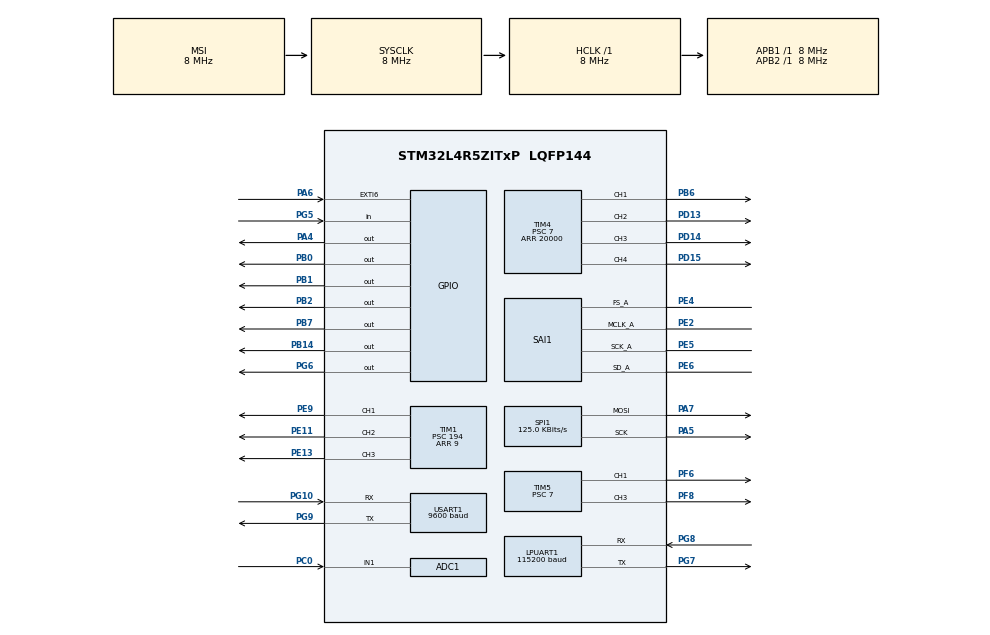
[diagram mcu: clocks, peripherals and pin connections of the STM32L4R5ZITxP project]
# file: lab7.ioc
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ADC1.Channel-0\#ChannelRegularConversion=ADC_CHANNEL_1
ADC1.ClockPrescaler=ADC_CLOCK_ASYNC_DIV2
ADC1.ExternalTrigConv=ADC_EXTERNALTRIG_T1_TRGO
ADC1.ExternalTrigConvEdge=ADC_EXTERNALTRIGCONVEDGE_RISING
ADC1.NbrOfConversionFlag=1
ADC1.OffsetNumber-0\#ChannelRegularConversion=ADC_OFFSET_NONE
ADC1.Rank-0\#ChannelRegularConversion=1
ADC1.SamplingTime-0\#ChannelRegularConversion=ADC_SAMPLETIME_640CYCLES_5
ADC1.master=1
Dma.ADC1.0.Direction=DMA_PERIPH_TO_MEMORY
Dma.ADC1.0.EventEnable=DISABLE
Dma.ADC1.0.Instance=DMA1_Channel1
Dma.ADC1.0.MemDataAlignment=DMA_MDATAALIGN_HALFWORD
Dma.ADC1.0.MemInc=DMA_MINC_ENABLE
Dma.ADC1.0.Mode=DMA_CIRCULAR
Dma.ADC1.0.PeriphDataAlignment=DMA_PDATAALIGN_HALFWORD
Dma.ADC1.0.PeriphInc=DMA_PINC_DISABLE
Dma.ADC1.0.Polarity=HAL_DMAMUX_REQUEST_GEN_RISING
Dma.ADC1.0.Priority=DMA_PRIORITY_VERY_HIGH
Dma.ADC1.0.RequestNumber=1
Dma.ADC1.0.SignalID=NONE
Dma.ADC1.0.SyncEnable=DISABLE
Dma.ADC1.0.SyncPolarity=HAL_DMAMUX_SYNC_NO_EVENT
Dma.ADC1.0.SyncRequestNumber=1
Dma.ADC1.0.SyncSignalID=NONE
Dma.Request0=ADC1
LPUART1.BaudRate=115200
LPUART1.WordLength=UART_WORDLENGTH_8B
Mcu.Family=STM32L4
Mcu.Name=STM32L4R5ZITxP
Mcu.Package=LQFP144
NVIC.DMA1_Channel1_IRQn=true\:0\:0\:false\:false\:true\:false\:true\:true
NVIC.EXTI9_5_IRQn=true\:0\:0\:false\:false\:true\:true\:true\:true
NVIC.PriorityGroup=NVIC_PRIORITYGROUP_4
PA0.Signal=S_TIM2_CH1
PA1.Signal=ADCx_IN6
PA10.Signal=USB_OTG_FS_ID
PA13\ (JTMS/SWDIO).Mode=Trace_Asynchronous_SW
PA13\ (JTMS/SWDIO).Signal=SYS_JTMS-SWDIO
PA14\ (JTCK/SWCLK).Mode=Trace_Asynchronous_SW
PA14\ (JTCK/SWCLK).Signal=SYS_JTCK-SWCLK
PA3.Signal=ADCx_IN8
PA4.Signal=GPIO_Output
PA5.Mode=TX_Only_Simplex_Unidirect_Master
PA5.Signal=SPI1_SCK
PA6.GPIO_ModeDefaultEXTI=GPIO_MODE_IT_FALLING
PA6.Signal=GPXTI6
PA7.Mode=TX_Only_Simplex_Unidirect_Master
PA7.Signal=SPI1_MOSI
PA8.Signal=USB_OTG_FS_SOF
PA9.Signal=USB_OTG_FS_VBUS
PB0.Signal=GPIO_Output
PB1.Signal=GPIO_Output
PB10.Signal=S_TIM2_CH3
PB12.Signal=SAI2_FS_A
PB13.Signal=SAI2_SCK_A
PB14.Signal=GPIO_Output
PB15.Signal=SAI2_SD_A
PB2.Signal=GPIO_Output
PB3\ (JTDO/TRACESWO).Mode=Trace_Asynchronous_SW
PB3\ (JTDO/TRACESWO).Signal=SYS_JTDO-SWO
PB4\ (NJTRST).Signal=SPI3_MISO
PB5.Signal=SPI3_MOSI
PB6.Signal=S_TIM4_CH1
PB7.Signal=GPIO_Output
PB8.Signal=I2C1_SCL
PB9.Signal=I2C1_SDA
PC0.Signal=ADCx_IN1
PC1.Signal=ADCx_IN2
PC10.Signal=SDMMC1_D2
PC11.Signal=SDMMC1_D3
PC12.Signal=SDMMC1_CK
PC13.Signal=SYS_WKUP2
PC14-OSC32_IN\ (PC14).Mode=LSE-External-Oscillator
PC14-OSC32_IN\ (PC14).Signal=RCC_OSC32_IN
PC15-OSC32_OUT\ (PC15).Mode=LSE-External-Oscillator
PC15-OSC32_OUT\ (PC15).Signal=RCC_OSC32_OUT
PC2.Signal=ADCx_IN3
PC3.Signal=ADCx_IN4
PC4.Signal=ADCx_IN13
PC5.Signal=ADCx_IN14
PC6.Signal=SAI2_MCLK_A
PC7.Signal=S_TIM3_CH2
PC8.Signal=SDMMC1_D0
PC9.Signal=SDMMC1_D1
PD0.Signal=CAN1_RX
PD13.Signal=S_TIM4_CH2
PD14.Signal=S_TIM4_CH3
PD15.Signal=S_TIM4_CH4
PD2.Signal=SDMMC1_CMD
PD3.Signal=USART2_CTS
PD4.Signal=USART2_RTS
PD5.Signal=USART2_TX
PD6.Signal=USART2_RX
PD8.Signal=USART3_TX
PD9.Signal=USART3_RX
PE0.Signal=S_TIM4_ETR
PE10.Signal=TIM1_CH2N
PE11.Signal=S_TIM1_CH2
PE12.Signal=TIM1_CH3N
PE13.Signal=S_TIM1_CH3
PE14.Signal=TIM1_BKIN2
PE15.Signal=TIM1_BKIN
PE2.Mode=SAI_A_MasterWithClock
PE2.Signal=SAI1_MCLK_A
PE3.Signal=SAI1_SD_B
PE4.Mode=SAI_A_MasterWithClock
PE4.Signal=SAI1_FS_A
PE5.Mode=SAI_A_MasterWithClock
PE5.Signal=SAI1_SCK_A
PE6.Mode=SAI_A_MasterWithClock
PE6.Signal=SAI1_SD_A
PE7.Signal=S_TIM1_ETR
PE8.Signal=TIM1_CH1N
PE9.Signal=S_TIM1_CH1
PF0.Signal=I2C2_SDA
PF1.Signal=I2C2_SCL
PF2.Signal=I2C2_SMBA
PF6.Signal=S_TIM5_CH1
PF7.Signal=SAI1_MCLK_B
PF8.Signal=S_TIM5_CH3
PG10.Mode=Asynchronous
PG10.Signal=USART1_RX
PG5.Signal=GPIO_Input
PG6.Signal=GPIO_Output
PG7.Mode=Asynchronous
PG7.Signal=LPUART1_TX
PG8.Mode=Asynchronous
PG8.Signal=LPUART1_RX
PG9.Mode=Asynchronous
PG9.Signal=USART1_TX
PH0-OSC_IN\ (PH0).Mode=HSE-External-Clock-Source
PH0-OSC_IN\ (PH0).Signal=RCC_OSC_IN
PH1-OSC_OUT\ (PH1).Signal=RCC_OSC_OUT
ProjectManager.HeapSize=0x200
ProjectManager.StackSize=0x400
ProjectManager.TargetToolchain=STM32CubeIDE
RCC.ADCFreq_Value=32000000
RCC.AHBFreq_Value=8000000
RCC.APB1Freq_Value=8000000
RCC.APB1TimFreq_Value=8000000
RCC.APB2Freq_Value=8000000
RCC.APB2TimFreq_Value=8000000
RCC.CortexFreq_Value=8000000
RCC.HCLKFreq_Value=8000000
RCC.HSE_VALUE=8000000
RCC.HSI48_VALUE=48000000
RCC.HSI_VALUE=16000000
RCC.MSIClockRange=RCC_MSIRANGE_7
RCC.MSI_VALUE=8000000
RCC.SYSCLKFreq_VALUE=8000000
RCC.USBFreq_Value=32000000
RCC.VCOOutputFreq_Value=64000000
SAI1.AudioFrequency-SAI_A_MasterWithClock=SAI_AUDIO_FREQUENCY_192K
SAI1.ErrorAudioFreq-SAI_A_MasterWithClock=-34.89 %
SAI1.InitProtocol-SAI_A_MasterWithClock=Enable
SAI1.Instance-SAI_A_MasterWithClock=SAI$Index_Block_A
SAI1.MClockEnable-SAI_A_MasterWithClock=SAI_MASTERCLOCK_ENABLE
SAI1.RealAudioFreq-SAI_A_MasterWithClock=125.0 KHz
SAI1.VirtualMode-SAI_A_MasterWithClock=VM_MASTER
SAI1.VirtualProtocol-SAI_A_BASIC=VM_BASIC_PROTOCOL
SH.ADCx_IN1.0=ADC1_IN1,IN1-Single-Ended
SH.ADCx_IN13.0=ADC1_IN13
SH.ADCx_IN14.0=ADC1_IN14
SH.ADCx_IN2.0=ADC1_IN2
SH.ADCx_IN3.0=ADC1_IN3
SH.ADCx_IN4.0=ADC1_IN4
SH.ADCx_IN6.0=ADC1_IN6
SH.ADCx_IN8.0=ADC1_IN8
SH.S_TIM1_CH1.0=TIM1_CH1,PWM Generation1 CH1
SH.S_TIM1_CH2.0=TIM1_CH2,PWM Generation2 CH2
SH.S_TIM1_CH3.0=TIM1_CH3,PWM Generation3 CH3
SH.S_TIM1_ETR.0=TIM1_ETR
SH.S_TIM2_CH1.0=TIM2_CH1
SH.S_TIM2_CH3.0=TIM2_CH3
SH.S_TIM3_CH2.0=TIM3_CH2
SH.S_TIM4_CH1.0=TIM4_CH1,PWM Generation1 CH1
SH.S_TIM4_CH2.0=TIM4_CH2,PWM Generation2 CH2
SH.S_TIM4_CH3.0=TIM4_CH3,PWM Generation3 CH3
SH.S_TIM4_CH4.0=TIM4_CH4,PWM Generation4 CH4
SH.S_TIM4_ETR.0=TIM4_ETR
SH.S_TIM5_CH1.0=TIM5_CH1,PWM Generation1 CH1
SH.S_TIM5_CH3.0=TIM5_CH3,PWM Generation3 CH3
SPI1.BaudRatePrescaler=SPI_BAUDRATEPRESCALER_64
SPI1.CalculateBaudRate=125.0 KBits/s
SPI1.DataSize=SPI_DATASIZE_8BIT
SPI1.Direction=SPI_DIRECTION_2LINES
SPI1.Mode=SPI_MODE_MASTER
SPI1.VirtualType=VM_MASTER
TIM1.Channel-PWM\ Generation1\ CH1=TIM_CHANNEL_1
TIM1.Channel-PWM\ Generation2\ CH2=TIM_CHANNEL_2
TIM1.Channel-PWM\ Generation3\ CH3=TIM_CHANNEL_3
TIM1.Period=9
TIM1.Prescaler=194
TIM1.TIM_MasterOutputTrigger=TIM_TRGO_UPDATE
TIM4.Channel-PWM\ Generation1\ CH1=TIM_CHANNEL_1
TIM4.Channel-PWM\ Generation2\ CH2=TIM_CHANNEL_2
TIM4.Channel-PWM\ Generation3\ CH3=TIM_CHANNEL_3
TIM4.Channel-PWM\ Generation4\ CH4=TIM_CHANNEL_4
TIM4.Period=20000
TIM4.Prescaler=7
TIM4.Pulse-PWM\ Generation1\ CH1=1500
TIM4.Pulse-PWM\ Generation2\ CH2=1500
TIM4.Pulse-PWM\ Generation3\ CH3=1500
TIM4.Pulse-PWM\ Generation4\ CH4=1500
TIM5.Channel-Output\ Compare4\ CH4=TIM_CHANNEL_4
TIM5.Channel-PWM\ Generation1\ CH1=TIM_CHANNEL_1
TIM5.Channel-PWM\ Generation3\ CH3=TIM_CHANNEL_3
TIM5.Period=20000
TIM5.Prescaler=7
TIM5.Pulse-PWM\ Generation3\ CH3=1500
USART1.BaudRate=9600
USART1.Mode=MODE_TX
USART1.VirtualMode-Asynchronous=VM_ASYNC
VP_SAI1_VP_$IpInstance_SAIA_SAI_BASIC.Mode=SAI_A_BASIC
VP_TIM1_VS_ClockSourceINT.Mode=Internal
board=NUCLEO-L4R5ZI-P

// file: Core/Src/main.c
/* USER CODE BEGIN Header */
/**
  ******************************************************************************
  * @file           : main.c
  * @brief          : Main program body
  ******************************************************************************
  * @attention
  *
  * Copyright (c) 2024 STMicroelectronics.
  * All rights reserved.
  *
  * This software is licensed under terms that can be found in the LICENSE file
  * in the root directory of this software component.
  * If no LICENSE file comes with this software, it is provided AS-IS.
  *
  ******************************************************************************
  */
/* USER CODE END Header */
#include "main.h"

/* USER CODE BEGIN Includes */

#define ARM_MATH_CM4
#include "arm_math.h"
#include "math.h"
#include <math.h>
#include <stdint.h>
#include <stdio.h>
#include <string.h>
#include <stdarg.h>
#include "ili9341.h"
#include "fonts.h"
#include "testimg.h"
#include "ili9341_touch.h"

#define BUFFER_LENGTH 4096
#define SAMPLING_RATE 2051.282
#define MAX_DELAY 750

#define PROCESSOR_CLOCK 8000000
#define PRESCALER 8

/* USER CODE END Includes */

ADC_HandleTypeDef hadc1;
DMA_HandleTypeDef hdma_adc1;

UART_HandleTypeDef hlpuart1;
UART_HandleTypeDef huart1;

SAI_HandleTypeDef hsai_BlockA1;

SPI_HandleTypeDef hspi1;

TIM_HandleTypeDef htim1;
TIM_HandleTypeDef htim4;
TIM_HandleTypeDef htim5;

/* USER CODE BEGIN PV */

arm_rfft_fast_instance_f32 fftHandler;
volatile convFlag;
volatile startFlag = 0;
uint8_t loop = 10;
char charFreq[20];
char desiredFreq[20];
/* USER CODE END PV */

void SystemClock_Config(void);
void PeriphCommonClock_Config(void);
static void MX_GPIO_Init(void);
static void MX_DMA_Init(void);
static void MX_ADC1_Init(void);
static void MX_LPUART1_UART_Init(void);
static void MX_SAI1_Init(void);
static void MX_TIM1_Init(void);
static void MX_TIM4_Init(void);
static void MX_SPI1_Init(void);
static void MX_TIM5_Init(void);
static void MX_USART1_UART_Init(void);

/* USER CODE BEGIN 0 */

void HAL_ADC_ConvCpltCallback(ADC_HandleTypeDef* hadc) {

	convFlag = 1;

}

void apply_hanning_window(float32_t * signal, uint32_t length){
	for (int i = 0; i < length; ++i){
		float32_t han_value = 0.5f * (1.0f - cosf(2 * PI * i / (length - 1)));
		signal[i] *= han_value;
	}
}

void find_peaks(float32_t* data, uint32_t length, int32_t* peaks, uint32_t* num_peaks) {
    float32_t threshold = 0; // Adjust if needed
    *num_peaks = 0;

    for (uint32_t i = 1; i < length - 1; ++i) {
        if (data[i] > threshold && data[i] > data[i-1] && data[i] > data[i+1]) {
            peaks[*num_peaks] = i;
            (*num_peaks)++;
        }
    }
}

void autocorrelate(float32_t* x, uint32_t N, float32_t* autocorrelation) {

    arm_rfft_fast_instance_f32 fftInstance;

    // Initialize the FFT instance
    arm_rfft_fast_init_f32(&fftInstance, N);

    float32_t output[N];
    arm_rfft_fast_f32(&fftInstance, x, output, 0);

    float32_t power_spectrum[N/2];
    //arm_cmplx_mag_squared_f32(output, power_spectrum, N/2);
    power_spectrum[0] = output[0] * output[0];
    power_spectrum[1] = output[1] * output[1];

    // Rest of the frequency bins (upto N/2)
    for (uint32_t i = 1; i < N / 2; ++i) {
        power_spectrum[2 * i] = output[2 * i] * output[2 * i] + output[2 * i + 1] * output[2 * i + 1]; // Real part
        power_spectrum[2 * i + 1] = 0; // Imaginary part is 0
    }

    //arm_abs_f32(autocorrelation, autocorrelation, BUFFER_LENGTH);

    arm_rfft_fast_f32(&fftInstance, power_spectrum, autocorrelation, 1);

    arm_abs_f32(autocorrelation, autocorrelation, BUFFER_LENGTH);
}
void set_motor_speed_1(int motor_speed) {
  // Can change motorspeed from 0 - 100
  // 0 = Full Clockwise Rotation
  // 50 = No Rotation
  // 100 = Full Counterclockwise Rotation

  // converting motor speed to pulse width (in ms)
  double pulse_width = (1.28) + (0.44 * ((double)motor_speed/100));

  int temp_ccr1 = (pulse_width / 1000) * (PROCESSOR_CLOCK / PRESCALER);

  TIM4->CCR1 = temp_ccr1;
}

void set_motor_speed_2(int motor_speed) {
  // Can change motorspeed from 0 - 100
  // 0 = Full Clockwise Rotation
  // 50 = No Rotation
  // 100 = Full Counterclockwise Rotation

  // converting motor speed to pulse width (in ms)
  double pulse_width = (1.28) + (0.44 * ((double)motor_speed/100));

  int temp_ccr2 = (pulse_width / 1000) * (PROCESSOR_CLOCK / PRESCALER);

  TIM4->CCR2 = temp_ccr2;
}

void set_motor_speed_3(int motor_speed) {
  // Can change motorspeed from 0 - 100
  // 0 = Full Clockwise Rotation
  // 50 = No Rotation
  // 100 = Full Counterclockwise Rotation

  // converting motor speed to pulse width (in ms)
  double pulse_width = (1.28) + (0.44 * ((double)motor_speed/100));

  int temp_ccr3 = (pulse_width / 1000) * (PROCESSOR_CLOCK / PRESCALER);

  TIM4->CCR3 = temp_ccr3;
}

void set_motor_speed_4(int motor_speed) {
  // Can change motorspeed from 0 - 100
  // 0 = Full Clockwise Rotation
  // 50 = No Rotation
  // 100 = Full Counterclockwise Rotation

  // converting motor speed to pulse width (in ms)
  double pulse_width = (1.28) + (0.44 * ((double)motor_speed/100));

  int temp_ccr4 = (pulse_width / 1000) * (PROCESSOR_CLOCK / PRESCALER);

  TIM4->CCR4 = temp_ccr4;
}

void set_motor_speed_5(int motor_speed) {
  // Can change motorspeed from 0 - 100
  // 0 = Full Clockwise Rotation
  // 50 = No Rotation
  // 100 = Full Counterclockwise Rotation

  // converting motor speed to pulse width (in ms)
  double pulse_width = (1.28) + (0.44 * ((double)motor_speed/100));

  int temp_ccr1 = (pulse_width / 1000) * (PROCESSOR_CLOCK / PRESCALER);

  TIM5->CCR1 = temp_ccr1;
}
void set_motor_speed_6(int motor_speed) {
  // Can change motorspeed from 0 - 100
  // 0 = Full Clockwise Rotation
  // 50 = No Rotation
  // 100 = Full Counterclockwise Rotation

  // converting motor speed to pulse width (in ms)
  double pulse_width = (1.28) + (0.44 * ((double)motor_speed/100));

  int temp_ccr3 = (pulse_width / 1000) * (PROCESSOR_CLOCK / PRESCALER);

  TIM5->CCR3 = temp_ccr3;
}

void screenInit () {
	ILI9341_Unselect();
	ILI9341_TouchUnselect();
	ILI9341_Init();
}

void reverse(char* str, int len)
{
    int i = 0, j = len - 1, temp;
    while (i < j) {
        temp = str[i];
        str[i] = str[j];
        str[j] = temp;
        i++;
        j--;
    }
}

int intToStr(int x, char str[], int d)
{
    int i = 0;
    while (x) {
        str[i++] = (x % 10) + '0';
        x = x / 10;
    }

    // If number of digits required is more, then
    // add 0s at the beginning
    while (i < d)
        str[i++] = '0';

    reverse(str, i);
    str[i] = '\0';
    return i;
}

void ftoa(float n, char* res, int afterpoint)
{
    // Extract integer part
    int ipart = (int)n;

    // Extract floating part
    float fpart = n - (float)ipart;

    // convert integer part to string
    int i = intToStr(ipart, res, 0);

    // check for display option after point
    if (afterpoint != 0) {
        res[i] = '.'; // add dot

        // Get the value of fraction part upto given no.
        // of points after dot. The third parameter
        // is needed to handle cases like 233.007
        fpart = fpart * pow(10, afterpoint);

        intToStr((int)fpart, res + i + 1, afterpoint);
    }
}

void transmit() {
	uint16_t key = 0xFFFF;
	uint32_t actual_guitar_freq = 0xFEED;
	for (int i = 0; i < 3; ++i) {
	  HAL_UART_Transmit(&huart1, &key,                 2, HAL_MAX_DELAY);
	  HAL_UART_Transmit(&huart1, &startFlag,               1, HAL_MAX_DELAY);
	  HAL_UART_Transmit(&huart1, &actual_guitar_freq,  4, HAL_MAX_DELAY);
    }
}

void HAL_GPIO_EXTI_Callback(uint16_t GPIO_Pin) {

	if (GPIO_Pin == 64) {
		if (startFlag) {
			startFlag = 0;
		} else {
			startFlag = 1;
			loop = 0;
		}
	}

}
/* USER CODE END 0 */

int main(void)
{
  /* USER CODE BEGIN 1 */
	convFlag = 0;
	//E (low), A, D, G, B, E (high)
	float32_t string_freqs[6] = {82.41, 110.0, 146.83, 196.0, 246.94, 329.63};
	float32_t measured_freq;
	char *strings[] = {"E (low)", "A       ", "D       ", "G       ", "B       ", "E (high)" };
	//char * E_high = "E (high)";
	char *detected_string;
	float32_t string_offset;

	union Float_as_buffer {
		  float f;
		  uint8_t buf[4];
	 };

	union Float_as_buffer actual_guitar_freq;

	uint16_t key = 0xFFFF;

	uint8_t start = 0b1;

  /* USER CODE END 1 */

  /* MCU Configuration--------------------------------------------------------*/

  /* Reset of all peripherals, Initializes the Flash interface and the Systick. */
  HAL_Init();

  /* Configure the system clock */
  SystemClock_Config();

/* Configure the peripherals common clocks */
  PeriphCommonClock_Config();

  /* Initialize all configured peripherals */
  MX_GPIO_Init();
  MX_DMA_Init();
  MX_ADC1_Init();
  MX_LPUART1_UART_Init();
  MX_SAI1_Init();
  MX_TIM1_Init();
  MX_TIM4_Init();
  MX_SPI1_Init();
  MX_TIM5_Init();
  MX_USART1_UART_Init();
  /* USER CODE BEGIN 2 */
 // screenInit();
  //ILI9341_FillScreen(ILI9341_BLACK);

  //arm_rfft_fast_init_f32(&fftHandler, BUFFER_LENGTH);

  float32_t signal[BUFFER_LENGTH];
  float32_t autocorrelation[BUFFER_LENGTH];

  uint32_t LOWEST_PERIOD = SAMPLING_RATE / 440; //440hz max
  uint32_t HIGHEST_PERIOD = SAMPLING_RATE / 50; //60 Hz min (change to 50)

   volatile uint16_t ADC_BUFFER[BUFFER_LENGTH];

//  float32_t freq_resolution = (float32_t)SAMPLING_RATE / (float32_t)BUFFER_LENGTH;

  HAL_TIM_Base_Start_IT(&htim1);
  HAL_TIM_PWM_Start(&htim4, TIM_CHANNEL_1);
  HAL_TIM_PWM_Start(&htim4, TIM_CHANNEL_2);
  HAL_TIM_PWM_Start(&htim4, TIM_CHANNEL_3);
  HAL_TIM_PWM_Start(&htim4, TIM_CHANNEL_4);

  HAL_TIM_PWM_Start(&htim5, TIM_CHANNEL_1);
  HAL_TIM_PWM_Start(&htim5, TIM_CHANNEL_3);

//  screenInit();
//  ILI9341_FillScreen(ILI9341_BLACK);
//  ILI9341_WriteString(35, 30, "PUSH BUTTON", Font_16x26, ILI9341_WHITE, ILI9341_BLACK);
//  ILI9341_WriteString(45, 60, "TO START", Font_16x26, ILI9341_WHITE, ILI9341_BLACK);
  /* USER CODE END 2 */

  /* Infinite loop */
  /* USER CODE BEGIN WHILE */
  uint8_t previous = 0;
  uint8_t hold = 0;
  while (1)
  {
	while (!startFlag) {
		actual_guitar_freq.f = 0.0;
		for (int i = 0; i < 3; ++i) {
			  HAL_UART_Transmit(&huart1, &key,                 2, HAL_MAX_DELAY);
			  HAL_UART_Transmit(&huart1, &startFlag,               1, HAL_MAX_DELAY);
			  HAL_UART_Transmit(&huart1, &actual_guitar_freq.buf,  4, HAL_MAX_DELAY);
		  }
		previous = 0;
	}

	while (startFlag) {

		uint16_t key = 0xFFFF;
		uint32_t holder = 0x0000;
		if(loop < 10) {
		for (int i = 0; i < 3; ++i) {
		  HAL_UART_Transmit(&huart1, &key,                 2, HAL_MAX_DELAY);
		  HAL_UART_Transmit(&huart1, &startFlag,               1, HAL_MAX_DELAY);
		  HAL_UART_Transmit(&huart1, &holder,  4, HAL_MAX_DELAY);
		}
		}
		loop += 1;

	 HAL_ADC_Start_DMA(&hadc1, ADC_BUFFER, BUFFER_LENGTH);

	  //Test signal with harmonics
//	  for (int i = 0; i < BUFFER_LENGTH; ++i){
//		  float32_t r = (float32_t)i / (float32_t)SAMPLING_RATE;
//		  r *= 3.14158265359 * 2;
//		  r *= 81.5; //Hz
//
//		  float32_t s = sin(r) + sin(r*4) * 0.5 + 0.25*sin(r*3) + sin(r*4) + sin(r*5) + sin(r*5);
//		  signal[i] = s;
//	  }

	 //Calculate average of ADC values over a range, do this for both noise (to get a threshold) and for when the individual strings
	 //are strummed

	  while(convFlag == 0) {;}

	  float32_t output[BUFFER_LENGTH];
	  for(int i = 0; i < BUFFER_LENGTH; i++) {
		  signal[i] = (double)(ADC_BUFFER[i]);

	  }

	apply_hanning_window(&signal, BUFFER_LENGTH);

//	  if (average < 2048){ //DETERMINE APPROPRIATE THRESHOLD HERE
//		  continue; //resample
//	  }

    arm_rfft_fast_instance_f32 fftInstance;

    // Initialize the FFT instance
    arm_rfft_fast_init_f32(&fftInstance, BUFFER_LENGTH);

    arm_rfft_fast_f32(&fftInstance, signal, output, 0);

    output[0] = 0;
    output[1] = 0;

	  if(!startFlag){
	  	    	 continue;
	  	     }

    // Rest of the frequency bins (upto N/2)
    float32_t HPS[BUFFER_LENGTH / 2];
    for (uint32_t i = 0; i < BUFFER_LENGTH / 2; ++i) {
        HPS[i] = sqrtf(output[2 * i] * output[2 * i] + output[2 * i + 1] * output[2 * i + 1]); // Real part
    }
//
    for(int i = 0; i < BUFFER_LENGTH / 4; i++) {

      HPS[i] = HPS[i] * HPS[2*i];

      if(i < floorf(BUFFER_LENGTH / 6)) {
        HPS[i] = HPS[i] * HPS[3*i];
      }

      if(i < floorf(BUFFER_LENGTH / 8)) {
        HPS[i] = HPS[i] * HPS[4*i];
      }

      if(i < floorf(BUFFER_LENGTH / 10)) {
    	  HPS[i] = HPS[i] * HPS[5*i];
      }

    }

    //Filter lower and higher frequencies, 30Hz and 450 Hz
    for(int i = 0; i < 50; ++i){
    	HPS[i] = 0;
    }
    for(int i = 370; i < BUFFER_LENGTH / 2; ++i){ //370 since likely will never be higher and issues with 3rd string harmonics
    	HPS[i] = 0;
    }

    float32_t average;
	arm_mean_f32(HPS, BUFFER_LENGTH/2, &average);
	if(average < (2E20)){ //Based on sampled data,see spreadsheet
		hold = 1;
		continue;
	}

    int max_peak = 0;
    int max_mag = 0;
    arm_max_f32(HPS, BUFFER_LENGTH / 2, &max_mag, &max_peak);

    float32_t measured_freq = max_peak * (2* SAMPLING_RATE/(BUFFER_LENGTH));

	     //Match frequency to string

	     //find smallest magnitude of distance
	     float32_t min_freqs[6];
	     for(int i = 0; i < 6; ++i){
	    	 min_freqs[i] = string_freqs[i] - measured_freq;
	     }

	     arm_abs_f32(min_freqs, min_freqs, 6);

	     //find the argmin
	     float32_t current_min = min_freqs[0];
	     uint8_t index = 0;
	     for(int i = 0; i < 6; ++i){
	    	 if (min_freqs[i] < current_min){
	    		 current_min = min_freqs[i];
	    		 index = i;
	    	 }
	     }

	     //assign detected string
	     detected_string = strings[index];

	     string_offset = measured_freq - string_freqs[index];

	     actual_guitar_freq.f = measured_freq;

	 // Transmit the string message
	  for (int i = 0; i < 3; ++i) {
		  HAL_UART_Transmit(&huart1, &key,                 2, HAL_MAX_DELAY);
		  HAL_UART_Transmit(&huart1, &startFlag,               1, HAL_MAX_DELAY);
		  HAL_UART_Transmit(&huart1, &actual_guitar_freq.buf,  4, HAL_MAX_DELAY);
	  }

	  ftoa(measured_freq, charFreq, 2);
	  ftoa(string_freqs[index], desiredFreq, 2);

	    if(!startFlag){
	    	 continue;
	     }

		// ILI9341_WriteString(100, 30, detected_string, Font_16x26, ILI9341_WHITE, ILI9341_BLACK);
		// ILI9341_WriteString(100, 90, charFreq, Font_16x26, ILI9341_WHITE, ILI9341_BLACK);
		// ILI9341_WriteString(100, 150, desiredFreq, Font_16x26, ILI9341_WHITE, ILI9341_BLACK);

	     //Tune strings (yeah yeah)
	     switch (index){
	     	 case 0: //E low
	     		if(string_offset > 0){
				 uint32_t delay = floor(80 * string_offset);
				 if(delay > MAX_DELAY){
					delay = MAX_DELAY;
				 }
				  set_motor_speed_1(68);
				  HAL_Delay(delay);
				  set_motor_speed_1(50);
				}
				else if(string_offset < 0){
				 uint32_t delay = floor(-1* (75 * string_offset));
				 if(delay > MAX_DELAY){
					delay = MAX_DELAY;
				 }
				 set_motor_speed_1(20);
				 HAL_Delay(delay);
				 set_motor_speed_1(50);
				}
	     		 break;

	     	 case 1: //A
	     		if(string_offset > 0){
				 uint32_t delay = floor(85 * string_offset);
				 if(delay > MAX_DELAY){
					delay = MAX_DELAY;
				 }
				  set_motor_speed_2(74);
				  HAL_Delay(delay);
				  set_motor_speed_2(50);
				}
				else if(string_offset < 0){
				 uint32_t delay = floor(-1* (115 * string_offset));
				 if(delay > MAX_DELAY){
					delay = MAX_DELAY;
				 }
				 set_motor_speed_2(15);
				 HAL_Delay(delay);
				 set_motor_speed_2(50);
				}
	     		 break;

	     	 case 2: //D
	     		if(string_offset > 0){
				 uint32_t delay = floor(130 * string_offset); // (500/3 )
				 if(delay > MAX_DELAY){
					delay = MAX_DELAY;
				 }
				  set_motor_speed_3(70);
				  HAL_Delay(delay);
				  set_motor_speed_3(50);
				}
				else if(string_offset < 0){
				 uint32_t delay = floor(-1* (130 * string_offset)); // (500/3 )
				 if(delay > MAX_DELAY){
					delay = MAX_DELAY;
				 }
				 set_motor_speed_3(18);
				 HAL_Delay(delay);
				 set_motor_speed_3(50);
	     		}
	     		 break;

	     	 case 3: //G
	     		if(string_offset > 0){
				 uint32_t delay = floor(115 * string_offset);
				 if(delay > MAX_DELAY){
				 	delay = MAX_DELAY;
				 }
				  set_motor_speed_4(72);
				  HAL_Delay(delay);
				  set_motor_speed_4(50);
				}
				else if(string_offset < 0 && string_offset < -1){
				 uint32_t delay = floor(-1* (160 * string_offset));
				 if(delay > MAX_DELAY){
				 	delay = MAX_DELAY;
				 }
				 set_motor_speed_4(20);
				 HAL_Delay(delay);
				 set_motor_speed_4(50);
				}
	     		 break;

	     	 case 4: //B
	     		if(string_offset > 0){ // COULD TEST FOR EXPECTED VALUE (BASED ON 1H range) when in tune
	     		 uint32_t delay = floor(80 * string_offset);	//OR could just do > 1 and let user decide when good, display in tune or sum
				 if(delay > MAX_DELAY){								//Since it has 1 Hz accuracy might be nice to have it turn small amounts
				 	delay = MAX_DELAY;
				 }
				  set_motor_speed_5(65);
				  HAL_Delay(delay);
				  set_motor_speed_5(50);
	     		}
	     		else if(string_offset < 0){
				 uint32_t delay = floor(-1* (60 * string_offset));
				 if(delay > MAX_DELAY){
				 	delay = MAX_DELAY;
				 }
				 set_motor_speed_5(20);
				 HAL_Delay(delay);
				 set_motor_speed_5(50);
	     		}
	     		 break;

	     	 case 5: //Low E
	     		if(string_offset > 0){
					 uint32_t delay = floor(135 * string_offset);
					 if(delay > MAX_DELAY){
					 	delay = MAX_DELAY;
					 }
					  set_motor_speed_6(68);
					  HAL_Delay(delay);
					  set_motor_speed_6(50);
				 }
	     		else if(string_offset < 0){
					 uint32_t delay = floor(-1* (95 * string_offset));
					 if(delay > MAX_DELAY){
					 	delay = MAX_DELAY;
					 }
					 set_motor_speed_6(22);
					 HAL_Delay(delay);
					 set_motor_speed_6(50);
				 }
	     		 break;

	     }

	  //To prevent strum from previous affecting next
	  HAL_Delay(250);
	  convFlag = 0;

    /* USER CODE END WHILE */

	 }
  }
}

void SystemClock_Config(void)
{
  RCC_OscInitTypeDef RCC_OscInitStruct = {0};
  RCC_ClkInitTypeDef RCC_ClkInitStruct = {0};

  /** Configure the main internal regulator output voltage
  */
  if (HAL_PWREx_ControlVoltageScaling(PWR_REGULATOR_VOLTAGE_SCALE1) != HAL_OK)
  {
    Error_Handler();
  }

  /** Initializes the RCC Oscillators according to the specified parameters
  * in the RCC_OscInitTypeDef structure.
  */
  RCC_OscInitStruct.OscillatorType = RCC_OSCILLATORTYPE_MSI;
  RCC_OscInitStruct.MSIState = RCC_MSI_ON;
  RCC_OscInitStruct.MSICalibrationValue = 0;
  RCC_OscInitStruct.MSIClockRange = RCC_MSIRANGE_7;
  RCC_OscInitStruct.PLL.PLLState = RCC_PLL_NONE;
  if (HAL_RCC_OscConfig(&RCC_OscInitStruct) != HAL_OK)
  {
    Error_Handler();
  }

  /** Initializes the CPU, AHB and APB buses clocks
  */
  RCC_ClkInitStruct.ClockType = RCC_CLOCKTYPE_HCLK|RCC_CLOCKTYPE_SYSCLK
                              |RCC_CLOCKTYPE_PCLK1|RCC_CLOCKTYPE_PCLK2;
  RCC_ClkInitStruct.SYSCLKSource = RCC_SYSCLKSOURCE_MSI;
  RCC_ClkInitStruct.AHBCLKDivider = RCC_SYSCLK_DIV1;
  RCC_ClkInitStruct.APB1CLKDivider = RCC_HCLK_DIV1;
  RCC_ClkInitStruct.APB2CLKDivider = RCC_HCLK_DIV1;

  if (HAL_RCC_ClockConfig(&RCC_ClkInitStruct, FLASH_LATENCY_0) != HAL_OK)
  {
    Error_Handler();
  }
}

void PeriphCommonClock_Config(void)
{
  RCC_PeriphCLKInitTypeDef PeriphClkInit = {0};

  /** Initializes the peripherals clock
  */
  PeriphClkInit.PeriphClockSelection = RCC_PERIPHCLK_SAI1|RCC_PERIPHCLK_ADC;
  PeriphClkInit.Sai1ClockSelection = RCC_SAI1CLKSOURCE_PLLSAI1;
  PeriphClkInit.AdcClockSelection = RCC_ADCCLKSOURCE_PLLSAI1;
  PeriphClkInit.PLLSAI1.PLLSAI1Source = RCC_PLLSOURCE_MSI;
  PeriphClkInit.PLLSAI1.PLLSAI1M = 1;
  PeriphClkInit.PLLSAI1.PLLSAI1N = 8;
  PeriphClkInit.PLLSAI1.PLLSAI1P = RCC_PLLP_DIV2;
  PeriphClkInit.PLLSAI1.PLLSAI1Q = RCC_PLLQ_DIV2;
  PeriphClkInit.PLLSAI1.PLLSAI1R = RCC_PLLR_DIV2;
  PeriphClkInit.PLLSAI1.PLLSAI1ClockOut = RCC_PLLSAI1_SAI1CLK|RCC_PLLSAI1_ADC1CLK;
  if (HAL_RCCEx_PeriphCLKConfig(&PeriphClkInit) != HAL_OK)
  {
    Error_Handler();
  }
}

static void MX_ADC1_Init(void)
{

  ADC_ChannelConfTypeDef sConfig = {0};

  /** Common config
  */
  hadc1.Instance = ADC1;
  hadc1.Init.ClockPrescaler = ADC_CLOCK_ASYNC_DIV2;
  hadc1.Init.Resolution = ADC_RESOLUTION_12B;
  hadc1.Init.DataAlign = ADC_DATAALIGN_RIGHT;
  hadc1.Init.ScanConvMode = ADC_SCAN_DISABLE;
  hadc1.Init.EOCSelection = ADC_EOC_SINGLE_CONV;
  hadc1.Init.LowPowerAutoWait = DISABLE;
  hadc1.Init.ContinuousConvMode = DISABLE;
  hadc1.Init.NbrOfConversion = 1;
  hadc1.Init.DiscontinuousConvMode = DISABLE;
  hadc1.Init.ExternalTrigConv = ADC_EXTERNALTRIG_T1_TRGO;
  hadc1.Init.ExternalTrigConvEdge = ADC_EXTERNALTRIGCONVEDGE_RISING;
  hadc1.Init.DMAContinuousRequests = DISABLE;
  hadc1.Init.Overrun = ADC_OVR_DATA_PRESERVED;
  hadc1.Init.OversamplingMode = DISABLE;
  if (HAL_ADC_Init(&hadc1) != HAL_OK)
  {
    Error_Handler();
  }

  /** Configure Regular Channel
  */
  sConfig.Channel = ADC_CHANNEL_1;
  sConfig.Rank = ADC_REGULAR_RANK_1;
  sConfig.SamplingTime = ADC_SAMPLETIME_640CYCLES_5;
  sConfig.SingleDiff = ADC_SINGLE_ENDED;
  sConfig.OffsetNumber = ADC_OFFSET_NONE;
  sConfig.Offset = 0;
  if (HAL_ADC_ConfigChannel(&hadc1, &sConfig) != HAL_OK)
  {
    Error_Handler();
  }

}

static void MX_LPUART1_UART_Init(void)
{

  hlpuart1.Instance = LPUART1;
  hlpuart1.Init.BaudRate = 115200;
  hlpuart1.Init.WordLength = UART_WORDLENGTH_8B;
  hlpuart1.Init.StopBits = UART_STOPBITS_1;
  hlpuart1.Init.Parity = UART_PARITY_NONE;
  hlpuart1.Init.Mode = UART_MODE_TX_RX;
  hlpuart1.Init.HwFlowCtl = UART_HWCONTROL_NONE;
  hlpuart1.Init.OneBitSampling = UART_ONE_BIT_SAMPLE_DISABLE;
  hlpuart1.Init.ClockPrescaler = UART_PRESCALER_DIV1;
  hlpuart1.AdvancedInit.AdvFeatureInit = UART_ADVFEATURE_NO_INIT;
  hlpuart1.FifoMode = UART_FIFOMODE_DISABLE;
  if (HAL_UART_Init(&hlpuart1) != HAL_OK)
  {
    Error_Handler();
  }
  if (HAL_UARTEx_SetTxFifoThreshold(&hlpuart1, UART_TXFIFO_THRESHOLD_1_8) != HAL_OK)
  {
    Error_Handler();
  }
  if (HAL_UARTEx_SetRxFifoThreshold(&hlpuart1, UART_RXFIFO_THRESHOLD_1_8) != HAL_OK)
  {
    Error_Handler();
  }
  if (HAL_UARTEx_DisableFifoMode(&hlpuart1) != HAL_OK)
  {
    Error_Handler();
  }

}

static void MX_USART1_UART_Init(void)
{

  huart1.Instance = USART1;
  huart1.Init.BaudRate = 9600;
  huart1.Init.WordLength = UART_WORDLENGTH_8B;
  huart1.Init.StopBits = UART_STOPBITS_1;
  huart1.Init.Parity = UART_PARITY_NONE;
  huart1.Init.Mode = UART_MODE_TX;
  huart1.Init.HwFlowCtl = UART_HWCONTROL_NONE;
  huart1.Init.OverSampling = UART_OVERSAMPLING_16;
  huart1.Init.OneBitSampling = UART_ONE_BIT_SAMPLE_DISABLE;
  huart1.Init.ClockPrescaler = UART_PRESCALER_DIV1;
  huart1.AdvancedInit.AdvFeatureInit = UART_ADVFEATURE_NO_INIT;
  if (HAL_UART_Init(&huart1) != HAL_OK)
  {
    Error_Handler();
  }
  if (HAL_UARTEx_SetTxFifoThreshold(&huart1, UART_TXFIFO_THRESHOLD_1_8) != HAL_OK)
  {
    Error_Handler();
  }
  if (HAL_UARTEx_SetRxFifoThreshold(&huart1, UART_RXFIFO_THRESHOLD_1_8) != HAL_OK)
  {
    Error_Handler();
  }
  if (HAL_UARTEx_DisableFifoMode(&huart1) != HAL_OK)
  {
    Error_Handler();
  }

}

static void MX_SAI1_Init(void)
{

  hsai_BlockA1.Instance = SAI1_Block_A;
  hsai_BlockA1.Init.AudioMode = SAI_MODEMASTER_TX;
  hsai_BlockA1.Init.Synchro = SAI_ASYNCHRONOUS;
  hsai_BlockA1.Init.OutputDrive = SAI_OUTPUTDRIVE_DISABLE;
  hsai_BlockA1.Init.NoDivider = SAI_MASTERDIVIDER_ENABLE;
  hsai_BlockA1.Init.FIFOThreshold = SAI_FIFOTHRESHOLD_EMPTY;
  hsai_BlockA1.Init.AudioFrequency = SAI_AUDIO_FREQUENCY_192K;
  hsai_BlockA1.Init.SynchroExt = SAI_SYNCEXT_DISABLE;
  hsai_BlockA1.Init.MonoStereoMode = SAI_STEREOMODE;
  hsai_BlockA1.Init.CompandingMode = SAI_NOCOMPANDING;
  hsai_BlockA1.Init.TriState = SAI_OUTPUT_NOTRELEASED;
  if (HAL_SAI_InitProtocol(&hsai_BlockA1, SAI_I2S_STANDARD, SAI_PROTOCOL_DATASIZE_16BIT, 2) != HAL_OK)
  {
    Error_Handler();
  }

}

static void MX_SPI1_Init(void)
{

  /* SPI1 parameter configuration*/
  hspi1.Instance = SPI1;
  hspi1.Init.Mode = SPI_MODE_MASTER;
  hspi1.Init.Direction = SPI_DIRECTION_2LINES;
  hspi1.Init.DataSize = SPI_DATASIZE_8BIT;
  hspi1.Init.CLKPolarity = SPI_POLARITY_LOW;
  hspi1.Init.CLKPhase = SPI_PHASE_1EDGE;
  hspi1.Init.NSS = SPI_NSS_SOFT;
  hspi1.Init.BaudRatePrescaler = SPI_BAUDRATEPRESCALER_64;
  hspi1.Init.FirstBit = SPI_FIRSTBIT_MSB;
  hspi1.Init.TIMode = SPI_TIMODE_DISABLE;
  hspi1.Init.CRCCalculation = SPI_CRCCALCULATION_DISABLE;
  hspi1.Init.CRCPolynomial = 7;
  hspi1.Init.CRCLength = SPI_CRC_LENGTH_DATASIZE;
  hspi1.Init.NSSPMode = SPI_NSS_PULSE_ENABLE;
  if (HAL_SPI_Init(&hspi1) != HAL_OK)
  {
    Error_Handler();
  }

}

static void MX_TIM1_Init(void)
{

  TIM_ClockConfigTypeDef sClockSourceConfig = {0};
  TIM_MasterConfigTypeDef sMasterConfig = {0};
  TIM_OC_InitTypeDef sConfigOC = {0};
  TIM_BreakDeadTimeConfigTypeDef sBreakDeadTimeConfig = {0};

  htim1.Instance = TIM1;
  htim1.Init.Prescaler = 194;
  htim1.Init.CounterMode = TIM_COUNTERMODE_UP;
  htim1.Init.Period = 9;
  htim1.Init.ClockDivision = TIM_CLOCKDIVISION_DIV1;
  htim1.Init.RepetitionCounter = 0;
  htim1.Init.AutoReloadPreload = TIM_AUTORELOAD_PRELOAD_DISABLE;
  if (HAL_TIM_Base_Init(&htim1) != HAL_OK)
  {
    Error_Handler();
  }
  sClockSourceConfig.ClockSource = TIM_CLOCKSOURCE_INTERNAL;
  if (HAL_TIM_ConfigClockSource(&htim1, &sClockSourceConfig) != HAL_OK)
  {
    Error_Handler();
  }
  if (HAL_TIM_PWM_Init(&htim1) != HAL_OK)
  {
    Error_Handler();
  }
  sMasterConfig.MasterOutputTrigger = TIM_TRGO_UPDATE;
  sMasterConfig.MasterOutputTrigger2 = TIM_TRGO2_RESET;
  sMasterConfig.MasterSlaveMode = TIM_MASTERSLAVEMODE_DISABLE;
  if (HAL_TIMEx_MasterConfigSynchronization(&htim1, &sMasterConfig) != HAL_OK)
  {
    Error_Handler();
  }
  sConfigOC.OCMode = TIM_OCMODE_PWM1;
  sConfigOC.Pulse = 0;
  sConfigOC.OCPolarity = TIM_OCPOLARITY_HIGH;
  sConfigOC.OCNPolarity = TIM_OCNPOLARITY_HIGH;
  sConfigOC.OCFastMode = TIM_OCFAST_DISABLE;
  sConfigOC.OCIdleState = TIM_OCIDLESTATE_RESET;
  sConfigOC.OCNIdleState = TIM_OCNIDLESTATE_RESET;
  if (HAL_TIM_PWM_ConfigChannel(&htim1, &sConfigOC, TIM_CHANNEL_1) != HAL_OK)
  {
    Error_Handler();
  }
  if (HAL_TIM_PWM_ConfigChannel(&htim1, &sConfigOC, TIM_CHANNEL_2) != HAL_OK)
  {
    Error_Handler();
  }
  if (HAL_TIM_PWM_ConfigChannel(&htim1, &sConfigOC, TIM_CHANNEL_3) != HAL_OK)
  {
    Error_Handler();
  }
  sBreakDeadTimeConfig.OffStateRunMode = TIM_OSSR_DISABLE;
  sBreakDeadTimeConfig.OffStateIDLEMode = TIM_OSSI_DISABLE;
  sBreakDeadTimeConfig.LockLevel = TIM_LOCKLEVEL_OFF;
  sBreakDeadTimeConfig.DeadTime = 0;
  sBreakDeadTimeConfig.BreakState = TIM_BREAK_DISABLE;
  sBreakDeadTimeConfig.BreakPolarity = TIM_BREAKPOLARITY_HIGH;
  sBreakDeadTimeConfig.BreakFilter = 0;
  sBreakDeadTimeConfig.Break2State = TIM_BREAK2_DISABLE;
  sBreakDeadTimeConfig.Break2Polarity = TIM_BREAK2POLARITY_HIGH;
  sBreakDeadTimeConfig.Break2Filter = 0;
  sBreakDeadTimeConfig.AutomaticOutput = TIM_AUTOMATICOUTPUT_DISABLE;
  if (HAL_TIMEx_ConfigBreakDeadTime(&htim1, &sBreakDeadTimeConfig) != HAL_OK)
  {
    Error_Handler();
  }
  HAL_TIM_MspPostInit(&htim1);

}

static void MX_TIM4_Init(void)
{

  TIM_MasterConfigTypeDef sMasterConfig = {0};
  TIM_OC_InitTypeDef sConfigOC = {0};

  htim4.Instance = TIM4;
  htim4.Init.Prescaler = 7;
  htim4.Init.CounterMode = TIM_COUNTERMODE_UP;
  htim4.Init.Period = 20000;
  htim4.Init.ClockDivision = TIM_CLOCKDIVISION_DIV1;
  htim4.Init.AutoReloadPreload = TIM_AUTORELOAD_PRELOAD_DISABLE;
  if (HAL_TIM_PWM_Init(&htim4) != HAL_OK)
  {
    Error_Handler();
  }
  sMasterConfig.MasterOutputTrigger = TIM_TRGO_RESET;
  sMasterConfig.MasterSlaveMode = TIM_MASTERSLAVEMODE_DISABLE;
  if (HAL_TIMEx_MasterConfigSynchronization(&htim4, &sMasterConfig) != HAL_OK)
  {
    Error_Handler();
  }
  sConfigOC.OCMode = TIM_OCMODE_PWM1;
  sConfigOC.Pulse = 1500;
  sConfigOC.OCPolarity = TIM_OCPOLARITY_HIGH;
  sConfigOC.OCFastMode = TIM_OCFAST_DISABLE;
  if (HAL_TIM_PWM_ConfigChannel(&htim4, &sConfigOC, TIM_CHANNEL_1) != HAL_OK)
  {
    Error_Handler();
  }
  if (HAL_TIM_PWM_ConfigChannel(&htim4, &sConfigOC, TIM_CHANNEL_2) != HAL_OK)
  {
    Error_Handler();
  }
  if (HAL_TIM_PWM_ConfigChannel(&htim4, &sConfigOC, TIM_CHANNEL_3) != HAL_OK)
  {
    Error_Handler();
  }
  if (HAL_TIM_PWM_ConfigChannel(&htim4, &sConfigOC, TIM_CHANNEL_4) != HAL_OK)
  {
    Error_Handler();
  }
  HAL_TIM_MspPostInit(&htim4);

}

static void MX_TIM5_Init(void)
{

  TIM_MasterConfigTypeDef sMasterConfig = {0};
  TIM_OC_InitTypeDef sConfigOC = {0};

  htim5.Instance = TIM5;
  htim5.Init.Prescaler = 7;
  htim5.Init.CounterMode = TIM_COUNTERMODE_UP;
  htim5.Init.Period = 20000;
  htim5.Init.ClockDivision = TIM_CLOCKDIVISION_DIV1;
  htim5.Init.AutoReloadPreload = TIM_AUTORELOAD_PRELOAD_DISABLE;
  if (HAL_TIM_PWM_Init(&htim5) != HAL_OK)
  {
    Error_Handler();
  }
  sMasterConfig.MasterOutputTrigger = TIM_TRGO_RESET;
  sMasterConfig.MasterSlaveMode = TIM_MASTERSLAVEMODE_DISABLE;
  if (HAL_TIMEx_MasterConfigSynchronization(&htim5, &sMasterConfig) != HAL_OK)
  {
    Error_Handler();
  }
  sConfigOC.OCMode = TIM_OCMODE_PWM1;
  sConfigOC.Pulse = 1500;
  sConfigOC.OCPolarity = TIM_OCPOLARITY_HIGH;
  sConfigOC.OCFastMode = TIM_OCFAST_DISABLE;
  if (HAL_TIM_PWM_ConfigChannel(&htim5, &sConfigOC, TIM_CHANNEL_1) != HAL_OK)
  {
    Error_Handler();
  }
  if (HAL_TIM_PWM_ConfigChannel(&htim5, &sConfigOC, TIM_CHANNEL_3) != HAL_OK)
  {
    Error_Handler();
  }
  HAL_TIM_MspPostInit(&htim5);

}

static void MX_DMA_Init(void)
{

  /* DMA controller clock enable */
  __HAL_RCC_DMAMUX1_CLK_ENABLE();
  __HAL_RCC_DMA1_CLK_ENABLE();

  /* DMA interrupt init */
  /* DMA1_Channel1_IRQn interrupt configuration */
  HAL_NVIC_SetPriority(DMA1_Channel1_IRQn, 0, 0);
  HAL_NVIC_EnableIRQ(DMA1_Channel1_IRQn);

}

static void MX_GPIO_Init(void)
{
  GPIO_InitTypeDef GPIO_InitStruct = {0};

  /* GPIO Ports Clock Enable */
  __HAL_RCC_GPIOE_CLK_ENABLE();
  __HAL_RCC_GPIOC_CLK_ENABLE();
  __HAL_RCC_GPIOF_CLK_ENABLE();
  __HAL_RCC_GPIOH_CLK_ENABLE();
  __HAL_RCC_GPIOA_CLK_ENABLE();
  __HAL_RCC_GPIOB_CLK_ENABLE();
  __HAL_RCC_GPIOD_CLK_ENABLE();
  __HAL_RCC_GPIOG_CLK_ENABLE();
  HAL_PWREx_EnableVddIO2();

  /*Configure GPIO pin Output Level */
  HAL_GPIO_WritePin(GPIOA, GPIO_PIN_4, GPIO_PIN_RESET);

  /*Configure GPIO pin Output Level */
  HAL_GPIO_WritePin(GPIOB, GPIO_PIN_0|GPIO_PIN_1|GPIO_PIN_2|GPIO_PIN_14
                          |GPIO_PIN_7, GPIO_PIN_RESET);

  /*Configure GPIO pin Output Level */
  HAL_GPIO_WritePin(GPIOG, GPIO_PIN_6, GPIO_PIN_RESET);

  /*Configure GPIO pins : PF0 PF1 PF2 */
  GPIO_InitStruct.Pin = GPIO_PIN_0|GPIO_PIN_1|GPIO_PIN_2;
  GPIO_InitStruct.Mode = GPIO_MODE_AF_OD;
  GPIO_InitStruct.Pull = GPIO_NOPULL;
  GPIO_InitStruct.Speed = GPIO_SPEED_FREQ_VERY_HIGH;
  GPIO_InitStruct.Alternate = GPIO_AF4_I2C2;
  HAL_GPIO_Init(GPIOF, &GPIO_InitStruct);

  /*Configure GPIO pin : PA0 */
  GPIO_InitStruct.Pin = GPIO_PIN_0;
  GPIO_InitStruct.Mode = GPIO_MODE_AF_PP;
  GPIO_InitStruct.Pull = GPIO_NOPULL;
  GPIO_InitStruct.Speed = GPIO_SPEED_FREQ_LOW;
  GPIO_InitStruct.Alternate = GPIO_AF1_TIM2;
  HAL_GPIO_Init(GPIOA, &GPIO_InitStruct);

  /*Configure GPIO pin : PA4 */
  GPIO_InitStruct.Pin = GPIO_PIN_4;
  GPIO_InitStruct.Mode = GPIO_MODE_OUTPUT_PP;
  GPIO_InitStruct.Pull = GPIO_NOPULL;
  GPIO_InitStruct.Speed = GPIO_SPEED_FREQ_LOW;
  HAL_GPIO_Init(GPIOA, &GPIO_InitStruct);

  /*Configure GPIO pin : PA6 */
  GPIO_InitStruct.Pin = GPIO_PIN_6;
  GPIO_InitStruct.Mode = GPIO_MODE_IT_FALLING;
  GPIO_InitStruct.Pull = GPIO_NOPULL;
  HAL_GPIO_Init(GPIOA, &GPIO_InitStruct);

  /*Configure GPIO pins : PB0 PB1 PB2 PB14
                           PB7 */
  GPIO_InitStruct.Pin = GPIO_PIN_0|GPIO_PIN_1|GPIO_PIN_2|GPIO_PIN_14
                          |GPIO_PIN_7;
  GPIO_InitStruct.Mode = GPIO_MODE_OUTPUT_PP;
  GPIO_InitStruct.Pull = GPIO_NOPULL;
  GPIO_InitStruct.Speed = GPIO_SPEED_FREQ_LOW;
  HAL_GPIO_Init(GPIOB, &GPIO_InitStruct);

  /*Configure GPIO pin : PB10 */
  GPIO_InitStruct.Pin = GPIO_PIN_10;
  GPIO_InitStruct.Mode = GPIO_MODE_AF_PP;
  GPIO_InitStruct.Pull = GPIO_NOPULL;
  GPIO_InitStruct.Speed = GPIO_SPEED_FREQ_LOW;
  GPIO_InitStruct.Alternate = GPIO_AF1_TIM2;
  HAL_GPIO_Init(GPIOB, &GPIO_InitStruct);

  /*Configure GPIO pins : PB12 PB13 PB15 */
  GPIO_InitStruct.Pin = GPIO_PIN_12|GPIO_PIN_13|GPIO_PIN_15;
  GPIO_InitStruct.Mode = GPIO_MODE_AF_PP;
  GPIO_InitStruct.Pull = GPIO_NOPULL;
  GPIO_InitStruct.Speed = GPIO_SPEED_FREQ_LOW;
  GPIO_InitStruct.Alternate = GPIO_AF13_SAI2;
  HAL_GPIO_Init(GPIOB, &GPIO_InitStruct);

  /*Configure GPIO pins : PD8 PD9 */
  GPIO_InitStruct.Pin = GPIO_PIN_8|GPIO_PIN_9;
  GPIO_InitStruct.Mode = GPIO_MODE_AF_PP;
  GPIO_InitStruct.Pull = GPIO_NOPULL;
  GPIO_InitStruct.Speed = GPIO_SPEED_FREQ_VERY_HIGH;
  GPIO_InitStruct.Alternate = GPIO_AF7_USART3;
  HAL_GPIO_Init(GPIOD, &GPIO_InitStruct);

  /*Configure GPIO pin : PG5 */
  GPIO_InitStruct.Pin = GPIO_PIN_5;
  GPIO_InitStruct.Mode = GPIO_MODE_INPUT;
  GPIO_InitStruct.Pull = GPIO_NOPULL;
  HAL_GPIO_Init(GPIOG, &GPIO_InitStruct);

  /*Configure GPIO pin : PG6 */
  GPIO_InitStruct.Pin = GPIO_PIN_6;
  GPIO_InitStruct.Mode = GPIO_MODE_OUTPUT_PP;
  GPIO_InitStruct.Pull = GPIO_NOPULL;
  GPIO_InitStruct.Speed = GPIO_SPEED_FREQ_LOW;
  HAL_GPIO_Init(GPIOG, &GPIO_InitStruct);

  /*Configure GPIO pin : PC6 */
  GPIO_InitStruct.Pin = GPIO_PIN_6;
  GPIO_InitStruct.Mode = GPIO_MODE_AF_PP;
  GPIO_InitStruct.Pull = GPIO_NOPULL;
  GPIO_InitStruct.Speed = GPIO_SPEED_FREQ_LOW;
  GPIO_InitStruct.Alternate = GPIO_AF13_SAI2;
  HAL_GPIO_Init(GPIOC, &GPIO_InitStruct);

  /*Configure GPIO pin : PC7 */
  GPIO_InitStruct.Pin = GPIO_PIN_7;
  GPIO_InitStruct.Mode = GPIO_MODE_AF_PP;
  GPIO_InitStruct.Pull = GPIO_NOPULL;
  GPIO_InitStruct.Speed = GPIO_SPEED_FREQ_LOW;
  GPIO_InitStruct.Alternate = GPIO_AF2_TIM3;
  HAL_GPIO_Init(GPIOC, &GPIO_InitStruct);

  /*Configure GPIO pins : PC8 PC9 PC10 PC11
                           PC12 */
  GPIO_InitStruct.Pin = GPIO_PIN_8|GPIO_PIN_9|GPIO_PIN_10|GPIO_PIN_11
                          |GPIO_PIN_12;
  GPIO_InitStruct.Mode = GPIO_MODE_AF_PP;
  GPIO_InitStruct.Pull = GPIO_NOPULL;
  GPIO_InitStruct.Speed = GPIO_SPEED_FREQ_VERY_HIGH;
  GPIO_InitStruct.Alternate = GPIO_AF12_SDMMC1;
  HAL_GPIO_Init(GPIOC, &GPIO_InitStruct);

  /*Configure GPIO pins : PA8 PA10 */
  GPIO_InitStruct.Pin = GPIO_PIN_8|GPIO_PIN_10;
  GPIO_InitStruct.Mode = GPIO_MODE_AF_PP;
  GPIO_InitStruct.Pull = GPIO_NOPULL;
  GPIO_InitStruct.Speed = GPIO_SPEED_FREQ_VERY_HIGH;
  GPIO_InitStruct.Alternate = GPIO_AF10_OTG_FS;
  HAL_GPIO_Init(GPIOA, &GPIO_InitStruct);

  /*Configure GPIO pin : PA9 */
  GPIO_InitStruct.Pin = GPIO_PIN_9;
  GPIO_InitStruct.Mode = GPIO_MODE_INPUT;
  GPIO_InitStruct.Pull = GPIO_NOPULL;
  HAL_GPIO_Init(GPIOA, &GPIO_InitStruct);

  /*Configure GPIO pin : PD0 */
  GPIO_InitStruct.Pin = GPIO_PIN_0;
  GPIO_InitStruct.Mode = GPIO_MODE_AF_PP;
  GPIO_InitStruct.Pull = GPIO_NOPULL;
  GPIO_InitStruct.Speed = GPIO_SPEED_FREQ_VERY_HIGH;
  GPIO_InitStruct.Alternate = GPIO_AF9_CAN1;
  HAL_GPIO_Init(GPIOD, &GPIO_InitStruct);

  /*Configure GPIO pin : PD2 */
  GPIO_InitStruct.Pin = GPIO_PIN_2;
  GPIO_InitStruct.Mode = GPIO_MODE_AF_PP;
  GPIO_InitStruct.Pull = GPIO_NOPULL;
  GPIO_InitStruct.Speed = GPIO_SPEED_FREQ_VERY_HIGH;
  GPIO_InitStruct.Alternate = GPIO_AF12_SDMMC1;
  HAL_GPIO_Init(GPIOD, &GPIO_InitStruct);

  /*Configure GPIO pins : PD3 PD4 PD5 PD6 */
  GPIO_InitStruct.Pin = GPIO_PIN_3|GPIO_PIN_4|GPIO_PIN_5|GPIO_PIN_6;
  GPIO_InitStruct.Mode = GPIO_MODE_AF_PP;
  GPIO_InitStruct.Pull = GPIO_NOPULL;
  GPIO_InitStruct.Speed = GPIO_SPEED_FREQ_VERY_HIGH;
  GPIO_InitStruct.Alternate = GPIO_AF7_USART2;
  HAL_GPIO_Init(GPIOD, &GPIO_InitStruct);

  /*Configure GPIO pins : PB4 PB5 */
  GPIO_InitStruct.Pin = GPIO_PIN_4|GPIO_PIN_5;
  GPIO_InitStruct.Mode = GPIO_MODE_AF_PP;
  GPIO_InitStruct.Pull = GPIO_NOPULL;
  GPIO_InitStruct.Speed = GPIO_SPEED_FREQ_VERY_HIGH;
  GPIO_InitStruct.Alternate = GPIO_AF6_SPI3;
  HAL_GPIO_Init(GPIOB, &GPIO_InitStruct);

  /*Configure GPIO pin : PB6 */
  GPIO_InitStruct.Pin = GPIO_PIN_6;
  GPIO_InitStruct.Mode = GPIO_MODE_ANALOG;
  GPIO_InitStruct.Pull = GPIO_NOPULL;
  HAL_GPIO_Init(GPIOB, &GPIO_InitStruct);

  /*Configure GPIO pins : PB8 PB9 */
  GPIO_InitStruct.Pin = GPIO_PIN_8|GPIO_PIN_9;
  GPIO_InitStruct.Mode = GPIO_MODE_AF_OD;
  GPIO_InitStruct.Pull = GPIO_NOPULL;
  GPIO_InitStruct.Speed = GPIO_SPEED_FREQ_VERY_HIGH;
  GPIO_InitStruct.Alternate = GPIO_AF4_I2C1;
  HAL_GPIO_Init(GPIOB, &GPIO_InitStruct);

  /* EXTI interrupt init*/
  HAL_NVIC_SetPriority(EXTI9_5_IRQn, 0, 0);
  HAL_NVIC_EnableIRQ(EXTI9_5_IRQn);

}

/* USER CODE BEGIN 4 */

#ifdef __GNUC__
#define PUTCHAR_PROTOTYPE int __io_putchar(int ch)
#else
  #define PUTCHAR_PROTOTYPE int fputc(int ch, FILE *f)
#endif /* __GNUC__ */
PUTCHAR_PROTOTYPE
{
  HAL_UART_Transmit(&hlpuart1, (uint8_t *)&ch, 1, 0xFFFF);
  return ch;
}

/* USER CODE END 4 */

void Error_Handler(void)
{
  __disable_irq();
  while (1)
  {
  }
}
